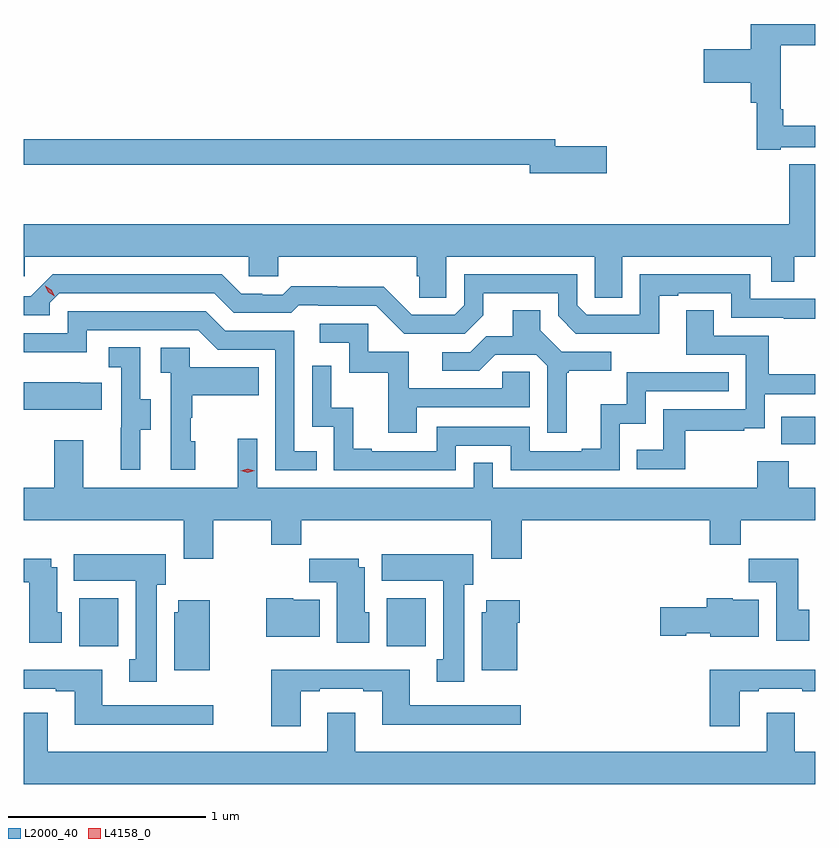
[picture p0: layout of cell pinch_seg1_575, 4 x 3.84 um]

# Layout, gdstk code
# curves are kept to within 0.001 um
import gdstk
lib = gdstk.Library(unit=1e-6, precision=1e-09)
def R(c, l, rs):  # rectangles x0, y0, x1, y1
    for r in rs: c.add(gdstk.rectangle(r[:2], r[2:], *l))
def P(c, l, *ps):  # polygons
    for p in ps: c.add(gdstk.Polygon(p, *l))
L2000_40 = (2000, 40)
L4158_0 = (4158, 0)

pinch_seg1_575 = lib.new_cell('pinch_seg1_575')
R(pinch_seg1_575, L2000_40, [(1068.383,512.468,1068.58,512.71), (1069.937,512.468,1070.134,512.71), (1071.931,513.488,1072.102,513.628)])
P(pinch_seg1_575, L2000_40, [(1071.928,514.989),(1072.102,514.989),(1072.102,515.097),(1071.941,515.097),(1071.941,515.182),(1071.926,515.182),(1071.926,515.505),(1072.102,515.505),(1072.102,515.612),(1071.776,515.612),(1071.776,515.485),(1071.537,515.485),(1071.537,515.315),(1071.776,515.315),(1071.776,515.213),(1071.805,515.213),(1071.805,514.977),(1071.928,514.977)],
  [(1071.049,514.994),(1070.788,514.994),(1070.788,515.03),(1068.102,515.03),(1068.102,514.902),(1070.66,514.902),(1070.66,514.859),(1071.049,514.859)],
  [(1070.238,514.436),(1070.988,514.436),(1070.988,514.228),(1071.127,514.228),(1071.127,514.436),(1071.879,514.436),(1071.879,514.309),(1071.995,514.309),(1071.995,514.436),(1072.102,514.436),(1072.102,514.904),(1071.971,514.904),(1071.971,514.6),(1068.102,514.6),(1068.102,514.338),(1068.108,514.338),(1068.108,514.436),(1069.239,514.436),(1069.239,514.338),(1069.389,514.338),(1069.389,514.436),(1070.087,514.436),(1070.087,514.338),(1070.101,514.338),(1070.101,514.228),(1070.238,514.228)],
  [(1071.313,514.239),(1071.409,514.239),(1071.409,514.251),(1071.678,514.251),(1071.678,514.128),(1071.943,514.128),(1071.943,514.123),(1072.102,514.123),(1072.102,514.224),(1071.774,514.224),(1071.774,514.347),(1071.216,514.347),(1071.216,514.143),(1070.946,514.143),(1070.898,514.191),(1070.898,514.347),(1070.328,514.347),(1070.328,514.191),(1070.28,514.143),(1070.064,514.143),(1069.922,514.285),(1069.686,514.285),(1069.686,514.288),(1069.453,514.288),(1069.411,514.245),(1069.308,514.245),(1069.308,514.248),(1069.201,514.248),(1069.102,514.347),(1068.249,514.347),(1068.138,514.236),(1068.102,514.236),(1068.102,514.14),(1068.234,514.14),(1068.234,514.203),(1068.282,514.251),(1069.065,514.251),(1069.164,514.152),(1069.453,514.152),(1069.492,514.191),(1069.591,514.191),(1069.591,514.188),(1069.884,514.188),(1070.025,514.047),(1070.331,514.047),(1070.425,514.141),(1070.425,514.251),(1070.802,514.251),(1070.802,514.137),(1070.892,514.047),(1071.313,514.046)],
  [(1070.845,513.849),(1070.857,513.849),(1070.857,513.86),(1071.07,513.86),(1071.07,513.957),(1070.82,513.957),(1070.713,514.064),(1070.713,514.166),(1070.573,514.166),(1070.573,514.034),(1070.438,514.034),(1070.358,513.954),(1070.217,513.954),(1070.217,513.861),(1070.404,513.861),(1070.485,513.942),(1070.691,513.942),(1070.748,513.885),(1070.748,513.546),(1070.845,513.546)],
  [(1071.445,513.558),(1071.743,513.558),(1071.743,513.569),(1071.846,513.569),(1071.846,513.741),(1072.102,513.741),(1072.102,513.842),(1071.866,513.842),(1071.866,514.038),(1071.589,514.038),(1071.589,514.166),(1071.449,514.166),(1071.449,513.942),(1071.75,513.942),(1071.75,513.666),(1071.334,513.666),(1071.334,513.46),(1071.199,513.46),(1071.199,513.363),(1071.445,513.363)],
  [(1069.583,513.453),(1069.47,513.453),(1069.47,514.062),(1069.12,514.062),(1069.021,514.161),(1068.324,514.161),(1068.324,514.05),(1068.102,514.05),(1068.102,513.953),(1068.42,513.953),(1068.42,514.065),(1068.984,514.065),(1069.083,513.966),(1069.374,513.966),(1069.374,513.357),(1069.583,513.357)],
  [(1070.089,513.675),(1070.658,513.675),(1070.658,513.855),(1070.521,513.855),(1070.521,513.771),(1070.047,513.771),(1070.047,513.957),(1069.842,513.957),(1069.842,514.098),(1069.599,514.098),(1069.599,514.002),(1069.746,514.002),(1069.746,513.849),(1069.945,513.849),(1069.945,513.546),(1070.089,513.546)],
  [(1068.691,513.562),(1068.745,513.562),(1068.745,513.717),(1068.69,513.717),(1068.69,513.98),(1068.531,513.98),(1068.531,513.877),(1068.594,513.877),(1068.594,513.573),(1068.593,513.573),(1068.593,513.36),(1068.691,513.36)],
  [(1068.97,513.504),(1068.945,513.504),(1068.945,513.623),(1068.955,513.623),(1068.955,513.737),(1069.289,513.737),(1069.289,513.877),(1068.942,513.877),(1068.942,513.975),(1068.795,513.975),(1068.795,513.851),(1068.846,513.851),(1068.846,513.36),(1068.97,513.36)],
  [(1070.286,513.48),(1070.562,513.48),(1070.562,513.357),(1071.114,513.357),(1071.114,513.593),(1071.246,513.593),(1071.246,513.756),(1071.665,513.756),(1071.665,513.852),(1071.15,513.852),(1071.15,513.691),(1071.017,513.691),(1071.017,513.466),(1070.921,513.466),(1070.921,513.453),(1070.658,513.453),(1070.658,513.576),(1070.19,513.576),(1070.19,513.453),(1069.861,513.453),(1069.861,513.466),(1069.766,513.466),(1069.766,513.674),(1069.656,513.674),(1069.656,513.886),(1069.56,513.886),(1069.56,513.576),(1069.668,513.576),(1069.668,513.357),(1070.286,513.357)],
  [(1068.497,513.799),(1068.389,513.799),(1068.389,513.802),(1068.102,513.802),(1068.102,513.662),(1068.497,513.662)],
  [(1069.059,513.104),(1069.354,513.104),(1069.354,512.98),(1069.505,512.98),(1069.505,513.104),(1070.465,513.104),(1070.465,512.91),(1070.618,512.91),(1070.618,513.104),(1071.569,513.104),(1071.569,512.98),(1071.725,512.98),(1071.725,513.104),(1072.102,513.104),(1072.102,513.268),(1071.968,513.268),(1071.968,513.403),(1071.808,513.403),(1071.808,513.268),(1070.472,513.268),(1070.472,513.395),(1070.376,513.395),(1070.376,513.268),(1069.281,513.268),(1069.281,513.517),(1069.184,513.517),(1069.184,513.268),(1068.403,513.268),(1068.403,513.508),(1068.256,513.508),(1068.256,513.268),(1068.102,513.268),(1068.102,513.104),(1068.911,513.104),(1068.911,512.91),(1069.059,512.91)],
  [(1068.775,512.778),(1068.82,512.778),(1068.82,512.932),(1068.356,512.932),(1068.356,512.798),(1068.668,512.798),(1068.668,512.402),(1068.635,512.402),(1068.635,512.289),(1068.775,512.289)],
  [(1070.329,512.778),(1070.374,512.778),(1070.374,512.932),(1069.91,512.932),(1069.91,512.798),(1070.222,512.798),(1070.222,512.402),(1070.189,512.402),(1070.189,512.289),(1070.329,512.289)],
  [(1072.072,512.652),(1072.015,512.652),(1072.015,512.911),(1071.766,512.911),(1071.766,512.792),(1071.905,512.792),(1071.905,512.496),(1072.072,512.496)],
  [(1069.849,512.64),(1069.825,512.64),(1069.825,512.866),(1069.795,512.866),(1069.795,512.911),(1069.546,512.911),(1069.546,512.792),(1069.685,512.792),(1069.685,512.486),(1069.849,512.486)],
  [(1068.295,512.64),(1068.271,512.64),(1068.271,512.866),(1068.241,512.866),(1068.241,512.91),(1068.102,512.91),(1068.102,512.792),(1068.131,512.792),(1068.131,512.486),(1068.295,512.486)],
  [(1071.817,512.704),(1071.684,512.704),(1071.684,512.71),(1071.554,512.71),(1071.554,512.664),(1071.318,512.664),(1071.318,512.522),(1071.45,512.522),(1071.45,512.534),(1071.57,512.534),(1071.57,512.516),(1071.817,512.516)],
  [(1069.597,512.704),(1069.464,512.704),(1069.464,512.71),(1069.328,512.71),(1069.328,512.516),(1069.597,512.516)],
  [(1069.042,512.701),(1068.884,512.701),(1068.884,512.64),(1068.863,512.64),(1068.863,512.348),(1069.042,512.348)],
  [(1070.596,512.588),(1070.609,512.588),(1070.609,512.701),(1070.438,512.701),(1070.438,512.64),(1070.417,512.64),(1070.417,512.348),(1070.596,512.348)],
  [(1069.501,512.241),(1069.597,512.241),(1069.597,512.253),(1069.817,512.253),(1069.817,512.241),(1069.913,512.241),(1069.913,512.072),(1070.614,512.072),(1070.614,512.169),(1070.053,512.169),(1070.053,512.35),(1069.354,512.35),(1069.354,512.064),(1069.501,512.064)],
  [(1071.721,512.241),(1071.817,512.241),(1071.817,512.253),(1072.037,512.253),(1072.037,512.241),(1072.102,512.241),(1072.102,512.35),(1071.569,512.35),(1071.569,512.064),(1071.721,512.064)],
  [(1069.06,512.169),(1068.499,512.169),(1068.499,512.35),(1068.102,512.35),(1068.102,512.253),(1068.263,512.253),(1068.263,512.241),(1068.359,512.241),(1068.359,512.072),(1069.06,512.072)],
  [(1072.102,511.936),(1071.997,511.936),(1071.997,512.131),(1071.857,512.131),(1071.857,511.936),(1069.777,511.936),(1069.777,512.131),(1069.637,512.131),(1069.637,511.936),(1068.223,511.936),(1068.223,512.131),(1068.102,512.131),(1068.102,511.772),(1072.102,511.772)])
P(pinch_seg1_575, L4158_0, [(1068.258,514.237),(1068.227,514.257),(1068.211,514.289),(1068.211,514.29),(1068.211,514.29),(1068.242,514.27),(1068.258,514.237),(1068.258,514.237)],
  [(1069.234,513.345),(1069.199,513.355),(1069.199,513.355),(1069.199,513.355),(1069.234,513.365),(1069.269,513.355),(1069.269,513.355),(1069.269,513.355)])

lib.write_gds('pinch_seg1_575.gds')
